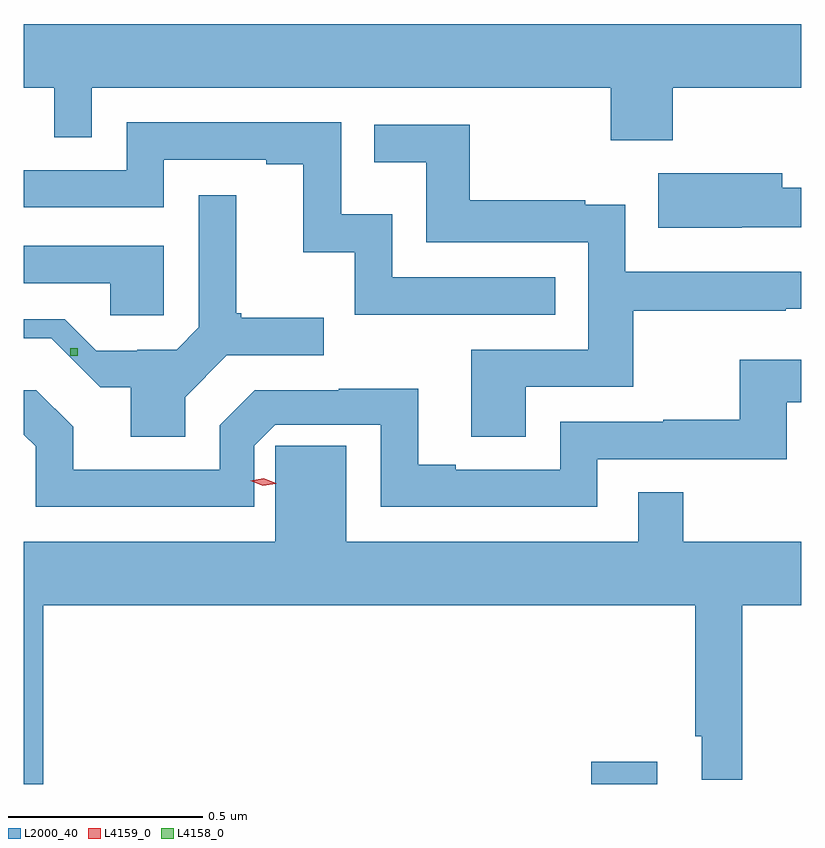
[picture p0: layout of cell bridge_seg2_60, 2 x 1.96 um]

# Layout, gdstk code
import gdstk
lib = gdstk.Library(unit=1e-6, precision=1e-09)
def R(c, l, rs):  # rectangles x0, y0, x1, y1
    for r in rs: c.add(gdstk.rectangle(r[:2], r[2:], *l))
def P(c, l, *ps):  # polygons
    for p in ps: c.add(gdstk.Polygon(p, *l))
L2000_40 = (2000, 40)
L4158_0 = (4158, 0)
L4159_0 = (4159, 0)

bridge_seg2_60 = lib.new_cell('bridge_seg2_60')
R(bridge_seg2_60, L2000_40, [(1002.716,628.528,1002.886,628.585)])
P(bridge_seg2_60, L2000_40, [(1002.926,630.32),(1003.256,630.32),(1003.256,630.484),(1001.256,630.484),(1001.256,630.32),(1001.334,630.32),(1001.334,630.193),(1001.43,630.193),(1001.43,630.32),(1002.766,630.32),(1002.766,630.185),(1002.926,630.185)],
  [(1002.623,629.832),(1002.204,629.832),(1002.204,629.995),(1002.072,629.995),(1002.072,630.231),(1001.52,630.231),(1001.52,630.108),(1001.256,630.108),(1001.256,630.012),(1001.616,630.012),(1001.616,630.135),(1001.879,630.135),(1001.879,630.123),(1001.975,630.123),(1001.975,629.897),(1002.108,629.897),(1002.108,629.736),(1002.623,629.736)],
  [(1002.547,629.55),(1002.824,629.55),(1002.824,629.746),(1003.217,629.746),(1003.217,629.751),(1003.256,629.751),(1003.256,629.847),(1002.804,629.847),(1002.804,630.019),(1002.701,630.019),(1002.701,630.031),(1002.403,630.031),(1002.403,630.225),(1002.157,630.225),(1002.157,630.128),(1002.292,630.128),(1002.292,629.922),(1002.708,629.922),(1002.708,629.646),(1002.407,629.646),(1002.407,629.422),(1002.547,629.422)],
  [(1003.103,629.961),(1003.256,629.961),(1003.256,630.062),(1003.207,630.062),(1003.207,630.1),(1002.889,630.1),(1002.889,629.96),(1003.103,629.96)],
  [(1001.671,629.524),(1001.778,629.631),(1002.028,629.631),(1002.028,629.728),(1001.815,629.728),(1001.815,629.74),(1001.803,629.74),(1001.803,630.043),(1001.706,630.043),(1001.706,629.703),(1001.649,629.646),(1001.547,629.646),(1001.547,629.643),(1001.442,629.643),(1001.361,629.724),(1001.256,629.724),(1001.256,629.675),(1001.326,629.675),(1001.452,629.549),(1001.531,629.549),(1001.531,629.422),(1001.671,629.422)],
  [(1001.616,629.913),(1001.256,629.913),(1001.256,629.817),(1001.478,629.817),(1001.478,629.734),(1001.616,629.734)],
  [(1001.849,629.398),(1001.903,629.453),(1002.174,629.453),(1002.174,629.241),(1002.732,629.241),(1002.732,629.364),(1003.219,629.364),(1003.219,629.511),(1003.256,629.511),(1003.256,629.62),(1003.098,629.62),(1003.098,629.465),(1002.901,629.465),(1002.901,629.46),(1002.636,629.46),(1002.636,629.337),(1002.367,629.337),(1002.367,629.35),(1002.271,629.35),(1002.271,629.545),(1002.066,629.545),(1002.066,629.541),(1001.85,629.541),(1001.76,629.451),(1001.76,629.337),(1001.383,629.337),(1001.383,629.447),(1001.288,629.542),(1001.256,629.542),(1001.256,629.427),(1001.286,629.397),(1001.286,629.241),(1001.849,629.241)],
  [(1001.306,628.988),(1002.984,628.988),(1002.984,628.651),(1003.001,628.651),(1003.001,628.539),(1003.105,628.539),(1003.105,628.988),(1003.256,628.988),(1003.256,629.152),(1002.953,629.152),(1002.953,629.279),(1002.837,629.279),(1002.837,629.152),(1002.085,629.152),(1002.085,629.398),(1001.903,629.398),(1001.903,629.152),(1001.256,629.152),(1001.256,628.528),(1001.306,628.528)])
R(bridge_seg2_60, L4158_0, [(1001.375,629.63,1001.395,629.65)])
P(bridge_seg2_60, L4159_0, [(1001.87,629.295),(1001.838,629.308),(1001.838,629.308),(1001.838,629.308),(1001.873,629.315),(1001.905,629.302),(1001.905,629.301),(1001.905,629.301)])

lib.write_gds('bridge_seg2_60.gds')
